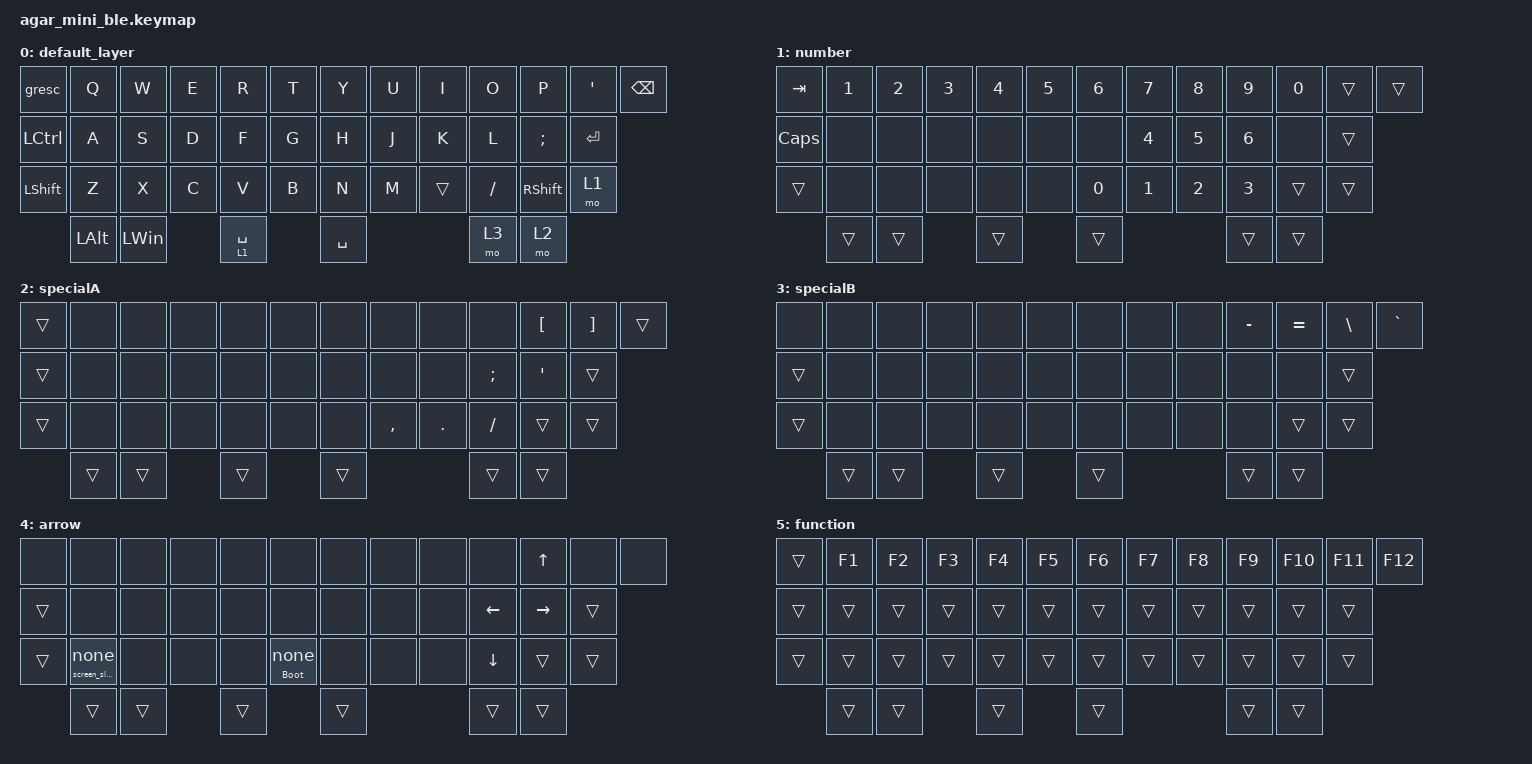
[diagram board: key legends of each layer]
/*&trans
* Copyright (c) 2021 The ZMK Contributors
*
* SPDX-License-Identifier: MIT
*/

#include "./boards/shields/klink_kbd/common.keymap"
#include <behaviors.dtsi>
#include <dt-bindings/zmk/keys.h>

/ {
    macros {
        /* mac 화면 슬립: Ctrl+Shift+Power = macOS 공식 디스플레이 슬립 단축키 */
        screen_sleep: screen_sleep {
            compatible = "zmk,behavior-macro";
            #binding-cells = <0>;
            bindings
                = <&macro_press &kp LCTRL &kp LSHFT>
                , <&macro_tap &kp C_POWER>
                , <&macro_release &kp LCTRL &kp LSHFT>
                ;
        };
    };
    behaviors {
        /* 짧게 누르면 무시, tapping-term 이상 꾹 눌러야 실행 → 실수 트리거 방지 */
        screen_sleep_hold: screen_sleep_hold {
            compatible = "zmk,behavior-hold-tap";
            #binding-cells = <2>;
            flavor = "tap-preferred";
            tapping-term-ms = <300>;
            bindings = <&screen_sleep>, <&none>;
        };
        bootloader_hold: bootloader_hold {
            compatible = "zmk,behavior-hold-tap";
            #binding-cells = <2>;
            flavor = "tap-preferred";
            tapping-term-ms = <300>;
            bindings = <&bootloader>, <&none>;
        };
    };
    combos {
        compatible = "zmk,combos";
        timeout-ms = <200>;

        arrowLayer {
            key-positions = <35 36>; /* Right Shift + 36번 */
            bindings = <&mo 4>;       /* 눌리면 Layer4 */
            layers = <0>;       /* 적용 레이어 */
            slow-release;
        };

        functionLayer {
            key-positions = <41 42>; /* 오른쪽 엄지 layer key 2개 */
            bindings = <&mo 5>;      /* 누르는 동안 Function layer */
            layers = <0>;
            slow-release;
        };
    };

    keymap {
        compatible = "zmk,keymap";

        default_layer {
            bindings = <
&gresc            &kp Q         &kp W         &kp E  &kp R        &kp T  &kp Y      &kp U  &kp I   &kp O      &kp P            &kp SINGLE_QUOTE  &kp BSPC
&kp LEFT_CONTROL  &kp A         &kp S         &kp D  &kp F        &kp G  &kp H      &kp J  &kp K   &kp L      &kp SEMICOLON    &kp RET
&kp LSHFT         &kp Z         &kp X         &kp C  &kp V        &kp B  &kp N      &kp M  &trans  &kp SLASH  &kp RIGHT_SHIFT  &mo 1
                  &kp LEFT_ALT  &kp LEFT_WIN         &lt 1 SPACE         &kp SPACE                 &mo 3      &mo 2
            >;
        };

        number {
            bindings = <
&kp TAB       &kp N1  &kp N2  &kp N3  &kp N4  &kp N5  &kp N6  &kp N7  &kp N8  &kp N9  &kp N0  &trans   &trans
&kp CAPSLOCK  &none   &none   &none   &none   &none   &none   &kp N4  &kp N5  &kp N6  &none   &trans
&trans        &none   &none   &none   &none   &none   &kp N0  &kp N1  &kp N2  &kp N3  &trans  &trans
              &trans        &trans                      &trans                      &trans                        &trans  &trans
            >;
        };

        specialA {
            bindings = <
&trans  &none   &none   &none  &none   &none  &none   &none      &none       &none          &kp LEFT_BRACKET  &kp RIGHT_BRACKET  &trans
&trans  &none   &none   &none  &none   &none  &none   &none      &none       &kp SEMICOLON  &kp SQT           &trans
&trans  &none   &none   &none  &none   &none  &none   &kp COMMA  &kp DOT  &kp SLASH      &trans            &trans
        &trans  &trans         &trans         &trans                         &trans         &trans
            >;
        };

        specialB {
            bindings = <
&none        &none   &none   &none  &none   &none  &none   &none  &none  &kp MINUS  &kp EQUAL  &kp BACKSLASH  &kp GRAVE
&trans       &none   &none   &none  &none   &none  &none   &none  &none  &none      &none      &trans
&trans       &none   &none   &none  &none   &none  &none   &none  &none  &none      &trans     &trans
             &trans  &trans         &trans         &trans                &trans     &trans
            >;
        };

        arrow {
            bindings = <
&none   &none   &none   &none   &none   &none   &none   &none   &none   &none   &kp UP_ARROW  &none  &none
&trans   &none   &none   &none   &none   &none   &none   &none   &none   &kp LEFT_ARROW  &kp RIGHT_ARROW  &trans
&trans   &screen_sleep_hold 0 0   &none   &none   &none   &bootloader_hold 0 0   &none   &none   &none   &kp DOWN_ARROW  &trans  &trans
        &trans  &trans         &trans                &trans                                    &trans          &trans
            >;
        };
        function {
            bindings = <
&trans  &kp F1  &kp F2  &kp F3  &kp F4  &kp F5  &kp F6  &kp F7  &kp F8  &kp F9  &kp F10  &kp F11  &kp F12
&trans  &trans  &trans  &trans  &trans  &trans  &trans  &trans  &trans  &trans  &trans   &trans
&trans  &trans  &trans  &trans  &trans  &trans  &trans  &trans  &trans  &trans  &trans   &trans
        &trans  &trans          &trans          &trans          &trans  &trans
            >;
        };

    };
};
